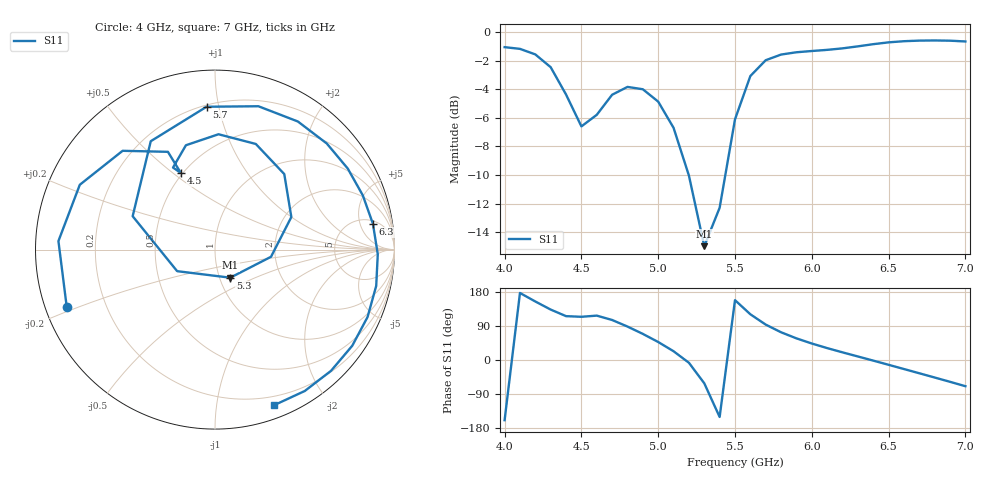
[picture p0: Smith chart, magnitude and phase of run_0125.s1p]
! Touchstone file exported from HFSS 2024.2.0
!  File:  C:/Users/wsak9/Desktop/Sim Fast/Widenad Patch/WP_AI_V1_sweep.aedt
!  Generated:  08:07:55 PM Oct 13, 2026
!  Design:  A1_model
!  Project:  WP_AI_V1_sweep
!  Setup:  Setup1
!  Solution:  Sweep
! Variables:
!  Air_gap = 3.88mm
!  Curve_Amp1 = 3.92
!  Curve_len1 = 1
!  Curve_pos = 12.125mm
!  Extra = 6.1mm
!  H_sub = 0.79mm
!  L_Patch = 20.25mm
!  L_Patch1 = 17.16mm
!  Sx = 0.62mm
!  Sy = 2.86mm
!  WS = 1.04mm
!  W_Patch = 17.24mm
!  W_Patch1 = 11.06mm
!Data is not renormalized
# GHz S MA
! Terminal data exported
! Port[1] = 1
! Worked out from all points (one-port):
!   31 points, 4 GHz to 7 GHz, reference per port
!   lowest |S11| = -15.0 dB at 5.3 GHz (marker M1), VSWR 1.43
!   |S11| at or under -10 dB: 5.199 GHz to 5.437 GHz (238.5 MHz wide, 4.48 % of centre)
!   S11 on the Smith chart (normalised r, x): 4 GHz: 0.06, -0.19; 4.5 GHz: 0.49, +0.53; 5.3 GHz: 1.12, -0.36; 5.7 GHz: 0.21, +0.92; 6.3 GHz: 6, +8; 7 GHz: 0.12, -1.44
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4  0.8858 -158.8
4.1  0.8736 176.9
4.2  0.8354 154.4
4.3  0.7536 133.1
4.4  0.6046 115.7
4.5  0.4677 114.0
4.6  0.5134 117.1
4.7  0.6036 105.6
4.8  0.6429 88.3
4.9  0.6309 68.9
5  0.571 47.5
5.1  0.4624 23.1
5.2  0.3146 -7.3
5.3  0.1781 -61.5
5.4  0.2428 -150.3
5.5  0.495 157.9
5.6  0.702 120.7
5.7  0.7973 93.4
5.8  0.8345 73.2
5.9  0.8501 57.1
6  0.8586 43.5
6.1  0.8666 31.4
6.3  0.8915 9.3
6.5  0.9206 -12.7
6.6  0.9293 -23.8
6.7  0.9337 -35.0
6.9  0.9331 -57.6
7  0.9273 -69.1
